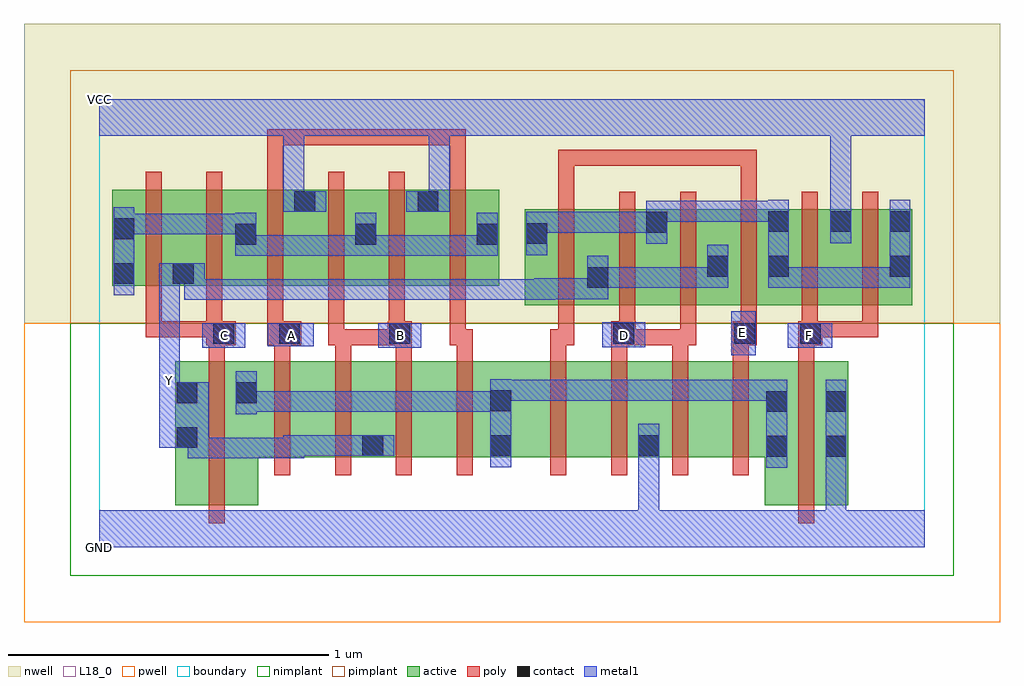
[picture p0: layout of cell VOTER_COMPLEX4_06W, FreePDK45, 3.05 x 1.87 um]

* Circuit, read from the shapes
.subckt VOTER_COMPLEX4_06W A B C D E F GND VCC Y
M1 n1 C Y VSUBS nfet w=0.45u l=0.05u
M2 n2 A n1 VSUBS nfet w=0.3u l=0.05u
M3 Y B n2 VSUBS nfet w=0.3u l=0.05u
M4 n3 B Y VSUBS nfet w=0.3u l=0.05u
M5 n1 A n3 VSUBS nfet w=0.3u l=0.05u
M6 n4 E n1 VSUBS nfet w=0.3u l=0.05u
M7 GND D n4 VSUBS nfet w=0.3u l=0.05u
M8 n5 D GND VSUBS nfet w=0.3u l=0.05u
M9 n1 E n5 VSUBS nfet w=0.3u l=0.05u
M10 GND F n1 VSUBS nfet w=0.45u l=0.05u
M11 Y C n6 n7 pfet w=0.3u l=0.05u m=2
M12 VCC A n6 n7 pfet w=0.3u l=0.05u m=2
M13 n6 B VCC n7 pfet w=0.3u l=0.05u m=2
M14 Y E n8 n7 pfet w=0.3u l=0.05u m=2
M15 n8 D Y n7 pfet w=0.3u l=0.05u m=2
M16 VCC F n8 n7 pfet w=0.3u l=0.05u m=2
.ends

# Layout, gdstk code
import gdstk
lib = gdstk.Library(unit=1e-6, precision=1e-09)
def R(c, l, rs):  # rectangles x0, y0, x1, y1
    for r in rs: c.add(gdstk.rectangle(r[:2], r[2:], *l))
def A(c, l, x, y, w, h, nx, ny, dx, dy):  # array of equal rectangles
    R(c, l, [(x+i*dx, y+j*dy, x+i*dx+w, y+j*dy+h) for i in range(nx) for j in range(ny)])
active = (1, 0)
pwell = (2, 0)
nwell = (3, 0)
nimplant = (4, 0)
pimplant = (5, 0)
poly = (9, 0)
contact = (10, 0)
metal1 = (11, 0)
L18_0 = (18, 0)
boundary = (235, 0)

voter_complex4_06w = lib.new_cell('VOTER_COMPLEX4_06W')
A(voter_complex4_06w, active, 1.705, 0.755, 0.075, 0.3, 3, 1, 0.38, 0)
R(voter_complex4_06w, active, [(0.237,0.13,0.497,0.58), (2.08,0.13,2.34,0.58), (0.237,0.195,0.312,0.58), (2.265,0.195,2.34,0.58), (2.08,0.2,2.155,0.492), (0.422,0.28,0.667,0.58), (0.667,0.28,0.892,0.58), (0.817,0.28,1.047,0.58), (0.817,0.28,0.892,0.527), (1.047,0.28,1.292,0.58), (1.217,0.28,1.53,0.58), (1.217,0.28,1.292,0.495), (1.53,0.28,1.755,0.58), (1.68,0.28,1.755,0.572), (1.68,0.28,1.91,0.58), (1.91,0.28,2.155,0.58), (0.422,0.33,0.497,0.52), (1.33,0.755,1.405,1.055), (1.33,0.755,1.595,1.055), (1.52,0.755,1.78,1.055), (1.705,0.755,1.97,1.055), (1.895,0.755,2.16,1.055), (2.085,0.755,2.355,1.055), (2.28,0.755,2.54,1.055), (1.52,0.805,1.595,1.055), (0.04,0.817,0.115,1.117), (0.04,0.817,0.3,1.117), (0.225,0.817,0.495,1.117), (0.225,0.817,0.3,1.055), (0.42,0.817,0.68,1.117), (0.605,0.817,0.87,1.117), (0.795,0.817,0.87,1.117), (0.795,0.817,1.065,1.117), (0.99,0.817,1.25,1.117), (1.175,0.817,1.25,1.117), (1.895,0.84,1.97,1.055), (2.28,0.852,2.355,1.055), (0.42,0.882,0.495,1.117), (0.605,0.882,0.68,1.117), (0.99,0.882,1.065,1.117)])
R(voter_complex4_06w, pwell, [(-0.235,-0.235,2.815,0.7)])
R(voter_complex4_06w, nwell, [(-0.235,0.7,2.815,1.635)])
R(voter_complex4_06w, nimplant, [(-0.09,-0.09,2.67,0.7)])
R(voter_complex4_06w, pimplant, [(-0.09,0.7,2.67,1.49)])
A(voter_complex4_06w, poly, 0.547, 0.225, 0.05, 0.41, 4, 1, 0.19, 0)
A(voter_complex4_06w, poly, 1.41, 0.225, 0.05, 0.41, 4, 1, 0.19, 0)
A(voter_complex4_06w, poly, 0.547, 0.585, 0.05, 0.095, 4, 1, 0.19, 0)
A(voter_complex4_06w, poly, 1.41, 0.585, 0.05, 0.095, 4, 1, 0.19, 0)
A(voter_complex4_06w, poly, 0.145, 0.655, 0.05, 0.157, 3, 1, 0.19, 0)
A(voter_complex4_06w, poly, 2.005, 0.655, 0.05, 0.095, 3, 1, 0.19, 0)
A(voter_complex4_06w, poly, 1.435, 0.7, 0.05, 0.41, 6, 1, 0.19, 0)
A(voter_complex4_06w, poly, 0.145, 0.762, 0.05, 0.41, 6, 1, 0.19, 0)
R(voter_complex4_06w, poly, [(0.342,0.075,0.392,0.635), (2.185,0.075,2.235,0.635), (0.342,0.585,0.392,0.68), (2.185,0.585,2.235,0.68), (0.335,0.63,0.427,0.705), (0.525,0.63,0.632,0.705), (0.715,0.63,0.765,0.812), (0.715,0.63,0.787,0.68), (0.737,0.63,0.952,0.68), (0.902,0.63,0.952,0.68), (0.902,0.63,0.952,0.68), (0.902,0.63,0.977,0.705), (1.095,0.63,1.145,0.812), (1.095,0.63,1.167,0.68), (1.41,0.63,1.485,0.68), (1.435,0.63,1.485,0.75), (1.6,0.63,1.677,0.705), (1.627,0.63,1.815,0.68), (1.765,0.63,1.815,0.68), (1.765,0.63,1.815,0.68), (1.765,0.63,1.865,0.68), (1.815,0.63,1.865,0.75), (1.98,0.63,2.055,0.705), (2.185,0.63,2.26,0.705), (0.145,0.655,0.195,0.705), (0.145,0.655,0.195,0.705), (0.145,0.655,0.195,0.705), (0.145,0.655,0.385,0.705), (0.905,0.655,0.955,0.812), (1.625,0.655,1.675,0.75), (2.21,0.655,2.435,0.705), (2.385,0.655,2.435,0.705), (2.385,0.655,2.435,0.705), (2.385,0.655,2.435,0.705), (1.435,1.06,1.485,1.242), (2.005,1.06,2.055,1.242), (0.525,1.122,0.575,1.305), (1.095,1.122,1.145,1.305), (1.435,1.192,1.485,1.242), (1.435,1.192,1.617,1.242), (1.567,1.192,1.617,1.242), (1.567,1.192,1.617,1.242), (1.567,1.192,1.617,1.242), (1.567,1.192,1.802,1.242), (1.752,1.192,1.802,1.242), (1.752,1.192,1.847,1.242), (1.797,1.192,1.847,1.242), (1.797,1.192,1.947,1.242), (1.897,1.192,1.947,1.242), (1.897,1.192,2.055,1.242), (2.005,1.192,2.055,1.242), (0.525,1.255,0.575,1.305), (0.525,1.255,0.575,1.305), (0.525,1.255,0.575,1.305), (0.525,1.255,0.82,1.305), (0.77,1.255,0.82,1.305), (0.77,1.255,0.82,1.305), (0.77,1.255,0.82,1.305), (0.77,1.255,1.012,1.305), (0.962,1.255,1.012,1.305), (0.962,1.255,1.145,1.305), (1.095,1.255,1.145,1.305), (1.095,1.255,1.145,1.305), (1.095,1.255,1.145,1.305)])
R(voter_complex4_06w, contact, [(2.085,0.282,2.15,0.347), (2.27,0.282,2.335,0.347), (0.822,0.285,0.887,0.35), (1.222,0.285,1.287,0.35), (1.685,0.285,1.75,0.35), (0.242,0.31,0.307,0.375), (2.085,0.422,2.15,0.487), (2.27,0.422,2.335,0.487), (1.222,0.425,1.287,0.49), (0.242,0.45,0.307,0.515), (0.427,0.45,0.492,0.515), (0.357,0.635,0.422,0.7), (0.562,0.635,0.627,0.7), (0.907,0.635,0.972,0.7), (1.607,0.635,1.672,0.7), (1.985,0.635,2.05,0.7), (2.19,0.635,2.255,0.7), (1.525,0.81,1.59,0.875), (0.045,0.822,0.11,0.887), (0.23,0.822,0.295,0.887), (1.9,0.845,1.965,0.91), (2.09,0.845,2.155,0.91), (2.47,0.845,2.535,0.91), (0.425,0.945,0.49,1.01), (0.8,0.945,0.865,1.01), (1.18,0.945,1.245,1.01), (1.335,0.947,1.4,1.012), (0.045,0.962,0.11,1.027), (1.71,0.982,1.775,1.047), (2.09,0.985,2.155,1.05), (2.285,0.985,2.35,1.05), (2.47,0.985,2.535,1.05), (0.61,1.047,0.675,1.112), (0.995,1.047,1.06,1.112)])
R(voter_complex4_06w, metal1, [(0,0,2.58,0.115), (1.685,0.05,1.75,0.315), (2.27,0.05,2.335,0.115), (2.27,0.05,2.335,0.115), (2.27,0.05,2.335,0.312), (2.085,0.247,2.15,0.522), (2.27,0.247,2.335,0.522), (1.222,0.25,1.287,0.525), (1.685,0.25,1.75,0.315), (1.685,0.25,1.75,0.315), (1.685,0.25,1.75,0.315), (1.685,0.25,1.75,0.315), (1.685,0.25,1.75,0.385), (0.277,0.277,0.342,0.342), (0.277,0.277,0.342,0.342), (0.277,0.277,0.342,0.342), (0.277,0.277,0.502,0.342), (0.277,0.277,0.342,0.375), (0.437,0.277,0.502,0.342), (0.437,0.277,0.502,0.342), (0.437,0.277,0.502,0.342), (0.437,0.277,0.64,0.342), (0.575,0.277,0.64,0.342), (0.575,0.277,0.64,0.342), (0.575,0.277,0.64,0.35), (0.575,0.285,0.852,0.35), (0.787,0.285,0.922,0.35), (0.187,0.31,0.342,0.515), (0.427,0.415,0.492,0.55), (0.427,0.422,0.492,0.487), (0.427,0.422,0.492,0.487), (0.427,0.422,0.715,0.487), (0.65,0.422,0.715,0.487), (0.65,0.422,0.715,0.487), (0.65,0.422,0.715,0.487), (0.65,0.422,0.887,0.487), (0.822,0.422,0.887,0.487), (0.822,0.422,0.887,0.487), (0.822,0.422,0.887,0.487), (0.822,0.422,1.107,0.487), (1.042,0.422,1.107,0.487), (1.042,0.422,1.107,0.487), (1.042,0.422,1.107,0.487), (1.042,0.422,1.287,0.487), (0.187,0.45,0.252,0.515), (0.187,0.45,0.252,0.587), (1.222,0.457,1.287,0.522), (1.222,0.457,1.287,0.522), (1.222,0.457,1.425,0.522), (1.36,0.457,1.425,0.522), (1.36,0.457,1.567,0.522), (1.502,0.457,1.567,0.522), (1.502,0.457,1.567,0.522), (1.502,0.457,1.567,0.522), (1.502,0.457,1.775,0.522), (1.71,0.457,1.775,0.522), (1.71,0.457,1.775,0.522), (1.71,0.457,1.775,0.522), (1.71,0.457,1.912,0.522), (1.847,0.457,1.912,0.522), (1.847,0.457,1.912,0.522), (1.847,0.457,1.912,0.522), (1.847,0.457,2.15,0.522), (0.187,0.522,0.252,0.887), (1.975,0.6,2.052,0.737), (0.322,0.622,0.457,0.7), (0.872,0.622,1.007,0.7), (2.152,0.622,2.29,0.7), (1.572,0.625,1.707,0.702), (0.527,0.627,0.67,0.7), (0.265,0.772,0.502,0.837), (0.265,0.772,0.33,0.887), (0.437,0.772,0.502,0.837), (0.437,0.772,0.502,0.837), (0.437,0.772,0.502,0.837), (0.437,0.772,0.715,0.837), (0.65,0.772,0.715,0.837), (0.65,0.772,0.715,0.837), (0.65,0.772,0.715,0.837), (0.65,0.772,0.887,0.837), (0.822,0.772,0.887,0.837), (0.822,0.772,0.887,0.837), (0.822,0.772,0.887,0.837), (0.822,0.772,1.107,0.837), (1.042,0.772,1.107,0.837), (1.042,0.772,1.107,0.837), (1.042,0.772,1.107,0.837), (1.042,0.772,1.287,0.837), (1.222,0.772,1.287,0.837), (1.222,0.772,1.425,0.837), (1.36,0.772,1.425,0.84), (1.36,0.775,1.425,0.84), (1.36,0.775,1.425,0.84), (1.36,0.775,1.59,0.84), (1.525,0.775,1.59,0.91), (0.045,0.787,0.11,1.062), (1.525,0.81,1.59,0.875), (1.525,0.81,1.59,0.875), (1.525,0.81,1.775,0.875), (1.71,0.81,1.775,0.875), (1.71,0.81,1.775,0.875), (1.71,0.81,1.775,0.875), (1.71,0.81,1.965,0.875), (1.9,0.81,1.965,0.945), (2.09,0.81,2.155,0.875), (2.09,0.81,2.155,0.875), (2.09,0.81,2.155,1.085), (2.09,0.81,2.292,0.875), (2.227,0.81,2.292,0.875), (2.227,0.81,2.292,0.875), (2.227,0.81,2.292,0.875), (2.227,0.81,2.535,0.875), (2.47,0.81,2.535,0.875), (2.47,0.81,2.535,0.875), (2.47,0.81,2.535,1.085), (0.187,0.822,0.33,0.887), (0.265,0.822,0.33,0.887), (0.425,0.91,0.49,0.975), (0.425,0.91,0.49,0.975), (0.425,0.91,0.49,1.045), (0.425,0.91,0.715,0.975), (0.65,0.91,0.715,0.975), (0.65,0.91,0.715,0.975), (0.65,0.91,0.715,0.975), (0.65,0.91,0.865,0.975), (0.8,0.91,0.865,0.975), (0.8,0.91,0.865,0.975), (0.8,0.91,0.865,1.045), (0.8,0.91,1.107,0.975), (1.042,0.91,1.107,0.975), (1.042,0.91,1.107,0.975), (1.042,0.91,1.107,0.975), (1.042,0.91,1.245,0.975), (1.18,0.91,1.245,1.045), (1.335,0.912,1.4,1.047), (1.71,0.947,1.775,1.082), (2.285,0.95,2.35,1.085), (0.045,0.977,0.11,1.042), (0.045,0.977,0.11,1.042), (0.045,0.977,0.247,1.042), (0.182,0.977,0.247,1.042), (0.182,0.977,0.247,1.042), (0.182,0.977,0.247,1.042), (0.182,0.977,0.49,1.042), (1.335,0.982,1.425,1.047), (1.36,0.982,1.425,1.047), (1.36,0.982,1.562,1.047), (1.497,0.982,1.562,1.047), (1.497,0.982,1.562,1.047), (1.497,0.982,1.562,1.047), (1.497,0.982,1.775,1.047), (1.71,1.017,1.775,1.082), (1.71,1.017,1.775,1.082), (1.71,1.017,2.012,1.082), (1.947,1.017,2.012,1.082), (1.947,1.017,2.065,1.082), (2,1.017,2.065,1.082), (2,1.017,2.155,1.082), (2.285,1.02,2.35,1.085), (2.285,1.02,2.35,1.085), (2.285,1.02,2.35,1.35), (0.575,1.047,0.64,1.112), (0.575,1.047,0.64,1.112), (0.575,1.047,0.64,1.35), (0.575,1.047,0.71,1.112), (0.96,1.047,1.095,1.112), (1.03,1.047,1.095,1.35), (0,1.285,2.58,1.4), (1.03,1.285,1.095,1.35), (1.03,1.285,1.095,1.35)])
R(voter_complex4_06w, L18_0, [(0,0,2.58,0.115), (1.685,0.05,1.75,0.315), (2.27,0.05,2.335,0.115), (2.27,0.05,2.335,0.115), (2.27,0.05,2.335,0.312), (2.27,0.247,2.335,0.522), (1.685,0.25,1.75,0.315), (1.685,0.25,1.75,0.315), (1.685,0.25,1.75,0.315), (1.685,0.25,1.75,0.315), (1.685,0.25,1.75,0.385), (0.277,0.277,0.342,0.342), (0.277,0.277,0.342,0.342), (0.277,0.277,0.342,0.342), (0.277,0.277,0.342,0.375), (0.277,0.277,0.502,0.342), (0.437,0.277,0.502,0.342), (0.437,0.277,0.502,0.342), (0.437,0.277,0.502,0.342), (0.437,0.277,0.64,0.342), (0.575,0.277,0.64,0.342), (0.575,0.277,0.64,0.342), (0.575,0.277,0.64,0.35), (0.575,0.285,0.852,0.35), (0.787,0.285,0.922,0.35), (0.187,0.31,0.342,0.515), (0.187,0.45,0.252,0.515), (0.187,0.45,0.252,0.587), (0.187,0.487,0.252,0.552), (0.187,0.522,0.252,0.887), (1.975,0.6,2.052,0.737), (0.322,0.622,0.457,0.7), (0.872,0.622,1.007,0.7), (2.152,0.622,2.29,0.7), (1.572,0.625,1.707,0.702), (0.357,0.627,0.422,0.692), (0.527,0.627,0.67,0.7), (0.567,0.627,0.632,0.692), (0.907,0.627,0.972,0.692), (1.607,0.627,1.672,0.692), (2.187,0.627,2.252,0.692), (1.977,0.637,2.042,0.702), (0.265,0.772,0.33,0.887), (0.265,0.772,0.502,0.837), (0.437,0.772,0.502,0.837), (0.437,0.772,0.502,0.837), (0.437,0.772,0.502,0.837), (0.437,0.772,0.715,0.837), (0.65,0.772,0.715,0.837), (0.65,0.772,0.715,0.837), (0.65,0.772,0.715,0.837), (0.65,0.772,0.887,0.837), (0.822,0.772,0.887,0.837), (0.822,0.772,0.887,0.837), (0.822,0.772,0.887,0.837), (0.822,0.772,1.107,0.837), (1.042,0.772,1.107,0.837), (1.042,0.772,1.107,0.837), (1.042,0.772,1.107,0.837), (1.042,0.772,1.287,0.837), (1.222,0.772,1.287,0.837), (1.222,0.772,1.425,0.837), (1.36,0.772,1.425,0.84), (1.36,0.775,1.425,0.84), (1.36,0.775,1.425,0.84), (1.36,0.775,1.59,0.84), (1.525,0.775,1.59,0.91), (1.525,0.81,1.59,0.875), (1.525,0.81,1.59,0.875), (1.525,0.81,1.775,0.875), (1.71,0.81,1.775,0.875), (1.71,0.81,1.775,0.875), (1.71,0.81,1.775,0.875), (1.71,0.81,1.965,0.875), (1.9,0.81,1.965,0.945), (0.187,0.822,0.33,0.887), (0.265,0.822,0.33,0.887), (2.285,0.95,2.35,1.085), (2.285,1.02,2.35,1.085), (2.285,1.02,2.35,1.085), (2.285,1.02,2.35,1.35), (0.575,1.047,0.64,1.112), (0.575,1.047,0.64,1.112), (0.575,1.047,0.71,1.112), (0.575,1.047,0.64,1.35), (0.96,1.047,1.095,1.112), (1.03,1.047,1.095,1.35), (0,1.285,2.58,1.4), (1.03,1.285,1.095,1.35), (1.03,1.285,1.095,1.35)])
R(voter_complex4_06w, boundary, [(0,0,2.58,1.4)])
voter_complex4_06w.add(gdstk.Label('A', (0.6,0.66), layer=11, texttype=0))
voter_complex4_06w.add(gdstk.Label('B', (0.94,0.66), layer=11, texttype=0))
voter_complex4_06w.add(gdstk.Label('C', (0.39,0.66), layer=11, texttype=0))
voter_complex4_06w.add(gdstk.Label('D', (1.64,0.66), layer=11, texttype=0))
voter_complex4_06w.add(gdstk.Label('E', (2.01,0.67), layer=11, texttype=0))
voter_complex4_06w.add(gdstk.Label('F', (2.22,0.66), layer=11, texttype=0))
voter_complex4_06w.add(gdstk.Label('Y', (0.22,0.52), layer=11, texttype=0))
voter_complex4_06w.add(gdstk.Label('VCC', (0,1.4), layer=11, texttype=0))
voter_complex4_06w.add(gdstk.Label('GND', (0,0), layer=11, texttype=0))

lib.write_gds('VOTER_COMPLEX4_06W.gds')
